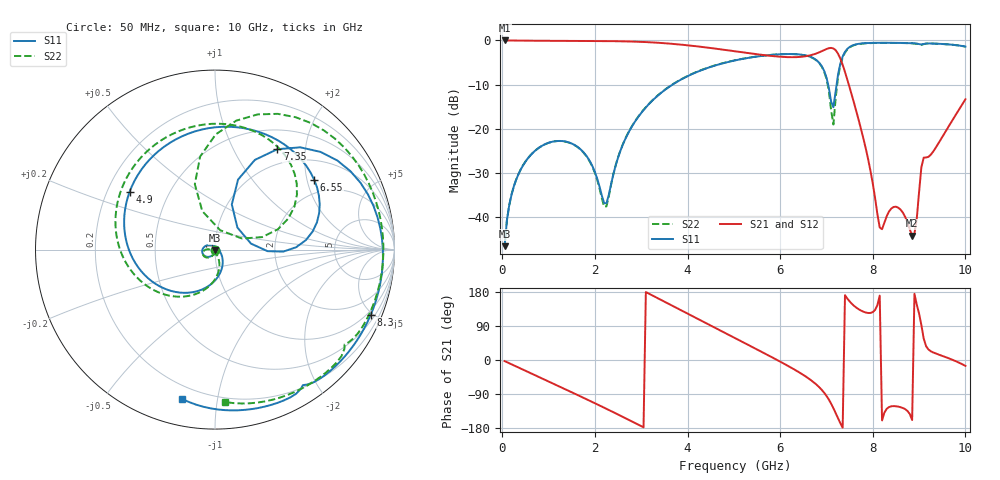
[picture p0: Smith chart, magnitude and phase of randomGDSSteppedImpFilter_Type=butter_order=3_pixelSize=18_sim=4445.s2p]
! freq	dB(S11)	phase(S11)	dB(S12)	phase(S12)
!  dB(S21)	phase(S21)	dB(S22)	phase(S22)
!S-par simulation data
#  GHz  S  DB  R 50
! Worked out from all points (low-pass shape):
!   200 points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, 50 MHz to 10 GHz, reference 50 ohm
!   highest |S21| = 0.00 dB at 50 MHz (marker M1); lowest = -44.2 dB at 8.85 GHz (marker M2)
!   |S21| within 3 dB of the highest: start of sweep to 5.408 GHz; 6.768 GHz to 7.25 GHz (481.7 MHz wide, 6.87 % of centre)
!   lowest |S11| = -46.6 dB at 50 MHz (marker M3), VSWR 1.01, Z = 50 - j0.467 ohm
!   |S11| at or under -10 dB: start of sweep to 3.677 GHz; 7.035 GHz to 7.219 GHz (183.8 MHz wide, 2.58 % of centre)
!   |S22| runs from -46.6 to -0.6 dB; largest |S21 - S12| = 0
!   S11 on the Smith chart (normalised r, x): 50 MHz: 1.00, -0.01; 4.9 GHz: 0.29, +0.28; 6.55 GHz: 1.54, +2.21; 7.35 GHz: 0.77, +1.51; 8.3 GHz: 0.77, -4.86; 10 GHz: 0.13, -0.79
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0.05  -46.61 -91.0  -0.00 -2.9  -0.00 -2.9  -46.58 -90.5
0.25  -33.05 -104.4  -0.03 -14.2  -0.03 -14.2  -33.03 -102.6
0.6  -26.11 -126.9  -0.06 -34.0  -0.06 -34.0  -26.10 -122.3
1.75  -25.30 156.7  -0.13 -99.6  -0.13 -99.6  -25.36 -178.9
2.25  -36.88 35.7  -0.15 -128.9  -0.15 -128.9  -37.57 -112.3
2.65  -22.47 -55.2  -0.21 -153.0  -0.21 -153.0  -22.41 -71.6
3.4  -12.12 -112.0  -0.55 160.4  -0.55 160.4  -12.07 -108.8
4.15  -7.37 -163.6  -1.27 112.9  -1.27 112.9  -7.33 -151.9
4.9  -4.82 146.0  -2.27 65.6  -2.27 65.6  -4.79 164.3
5.05  -4.47 136.0  -2.49 56.2  -2.49 56.2  -4.44 155.5
5.85  -3.23 83.2  -3.55 5.5  -3.55 5.5  -3.23 107.4
6.55  -3.40 35.2  -3.58 -43.4  -3.58 -43.4  -3.42 60.3
6.7  -3.93 23.5  -3.24 -56.5  -3.24 -56.5  -3.96 48.1
7.15  -15.13 44.6  -1.81 -127.2  -1.81 -127.2  -19.05 74.9
7.35  -3.63 58.2  -5.53 -178.6  -5.53 -178.6  -3.86 89.7
7.65  -0.86 19.9  -16.25 137.7  -16.25 137.7  -0.92 47.7
8.15  -0.53 -14.7  -42.37 169.9  -42.37 169.9  -0.56 10.2
8.3  -0.53 -22.7  -39.85 -129.0  -39.85 -129.0  -0.55 1.5
8.35  -0.53 -25.3  -38.76 -124.2  -38.76 -124.2  -0.55 -1.3
8.85  -0.64 -49.1  -44.25 -158.5  -44.25 -158.5  -0.65 -27.5
9.1  -0.81 -58.3  -26.56 56.3  -26.56 56.3  -0.83 -37.5
10  -1.40 -102.6  -13.33 -15.5  -13.33 -15.5  -1.40 -86.4
